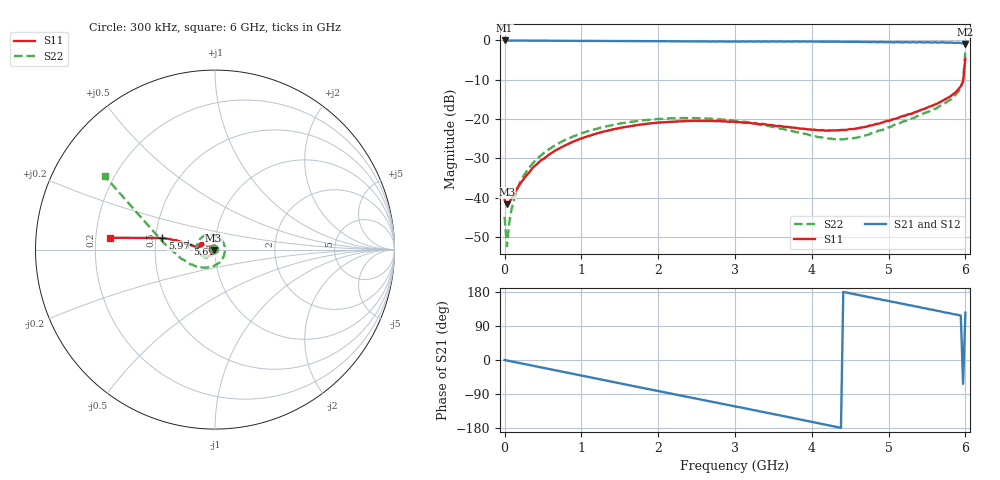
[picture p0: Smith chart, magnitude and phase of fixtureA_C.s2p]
# Hz S RI R 50
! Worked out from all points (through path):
!   201 points, 300 kHz to 6 GHz, reference 50 ohm
!   highest |S21| = 0.01 dB at 300 kHz (marker M1); lowest = -0.9 dB at 6 GHz (marker M2)
!   lowest |S11| = -41.7 dB at 30.3 MHz (marker M3), VSWR 1.02, Z = 49.2 - j0.189 ohm
!   |S11| at or under -10 dB: start of sweep to 5.972 GHz
!   |S22| runs from -52.4 to -2.6 dB; largest |S21 - S12| = 4.7e-16
!   S11 on the Smith chart (normalised r, x): 300 kHz: 0.98, +0.00; 5.61 GHz: 0.74, +0.04; 5.97 GHz: 0.54, +0.08; 6 GHz: 0.26, +0.05
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300000  -0.00915 0.00168  1.001 -0.00104  1.001 -0.00104  -0.00286 0.00492
3.02985e7  -0.00796 -0.00192  0.999 -0.0226  0.999 -0.0226  0.00134 -0.00201
6.0297e7  -0.00808 -0.00335  0.9977 -0.0448  0.9977 -0.0448  0.00107 -0.00462
9.02955e7  -0.00842 -0.00487  0.9963 -0.0665  0.9963 -0.0665  0.000632 -0.00706
1.502925e8  -0.00923 -0.00826  0.9915 -0.1097  0.9915 -0.1097  -0.000358 -0.0117
2.40288e8  -0.0104 -0.0132  0.9812 -0.1741  0.9812 -0.1741  -0.00327 -0.0183
3.60282e8  -0.0136 -0.0192  0.9616 -0.2576  0.9616 -0.2576  -0.00784 -0.0258
5.40273e8  -0.0191 -0.0269  0.9178 -0.3788  0.9178 -0.3788  -0.0176 -0.035
1.020249e9  -0.0422 -0.0392  0.7332 -0.6614  0.7332 -0.6614  -0.0503 -0.0437
1.500225e9  -0.0683 -0.0355  0.4675 -0.866  0.4675 -0.866  -0.0828 -0.0284
2.0102e9  -0.0885 -0.0171  0.1292 -0.9697  0.1292 -0.9697  -0.1001 0.00852
2.490176e9  -0.0944 0.00592  -0.1995 -0.9528  -0.1995 -0.9528  -0.0901 0.049
3.00015e9  -0.0876 0.0263  -0.5207 -0.8231  -0.5207 -0.8231  -0.0522 0.0785
3.510124e9  -0.0746 0.0352  -0.778 -0.5829  -0.778 -0.5829  -0.000277 0.0788
4.020099e9  -0.0661 0.0316  -0.9318 -0.2627  -0.9318 -0.2627  0.0442 0.043
4.440078e9  -0.0689 0.023  -0.9639 0.0269  -0.9639 0.0269  0.0551 -0.00778
5.01005e9  -0.0935 0.0162  -0.8695 0.3982  -0.8695 0.3982  0.0164 -0.0768
5.61002e9  -0.1515 0.0293  -0.6212 0.7207  -0.6212 0.7207  -0.0975 -0.0929
5.820009e9  -0.1951 0.0452  -0.5005 0.7995  -0.5005 0.7995  -0.1699 -0.0597
5.940003e9  -0.2539 0.0588  -0.422 0.8216  -0.422 0.8216  -0.254 0.00496
5.970002e9  -0.2933 0.0644  0.4179 -0.8176  0.4179 -0.8176  -0.3007 0.0537
6e9  -0.5861 0.0658  -0.5156 0.738  -0.5156 0.738  -0.615 0.4101
